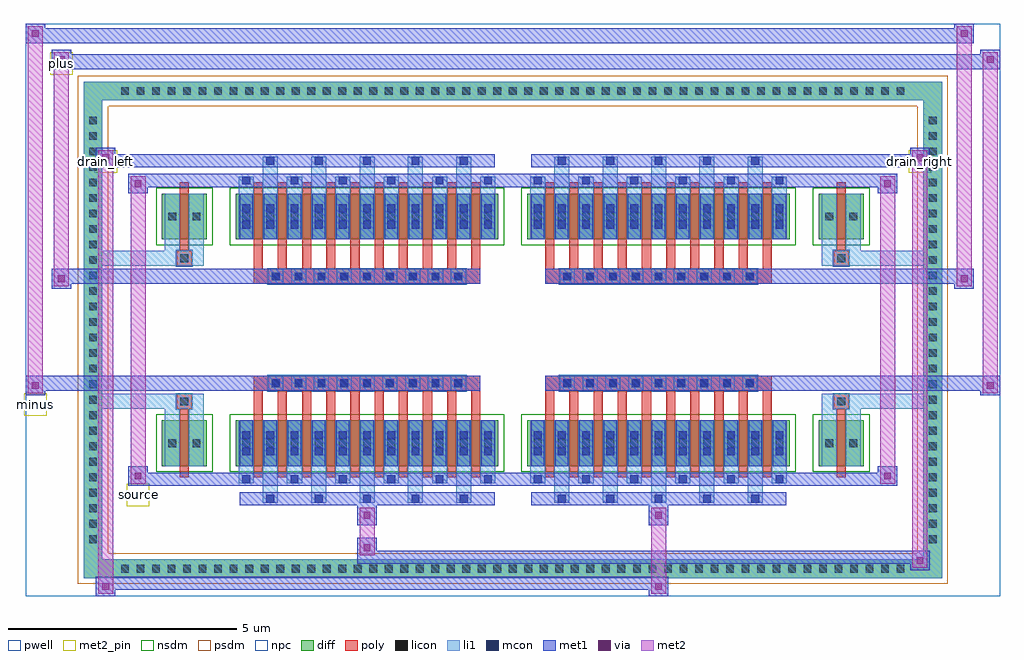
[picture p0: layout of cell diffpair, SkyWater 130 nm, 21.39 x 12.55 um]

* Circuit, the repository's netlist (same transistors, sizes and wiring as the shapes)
* NGSPICE file created from diffpair.ext - technology: sky130A

.subckt diffpair minus drain_right drain_left source plus
X0 source minus drain_right a_n1882_n1088# sky130_fd_pr__nfet_01v8 ad=0.165 pd=1.33 as=0.165 ps=1.33 w=1 l=0.2
X1 drain_right minus source a_n1882_n1088# sky130_fd_pr__nfet_01v8 ad=0.165 pd=1.33 as=0.165 ps=1.33 w=1 l=0.2
X2 drain_right minus source a_n1882_n1088# sky130_fd_pr__nfet_01v8 ad=0.165 pd=1.33 as=0.165 ps=1.33 w=1 l=0.2
X3 drain_right minus source a_n1882_n1088# sky130_fd_pr__nfet_01v8 ad=0.165 pd=1.33 as=0.165 ps=1.33 w=1 l=0.2
X4 source plus drain_left a_n1882_n1088# sky130_fd_pr__nfet_01v8 ad=0.165 pd=1.33 as=0.165 ps=1.33 w=1 l=0.2
X5 source minus drain_right a_n1882_n1088# sky130_fd_pr__nfet_01v8 ad=0.165 pd=1.33 as=0.165 ps=1.33 w=1 l=0.2
X6 drain_left plus source a_n1882_n1088# sky130_fd_pr__nfet_01v8 ad=0.165 pd=1.33 as=0.165 ps=1.33 w=1 l=0.2
X7 source plus drain_left a_n1882_n1088# sky130_fd_pr__nfet_01v8 ad=0.165 pd=1.33 as=0.165 ps=1.33 w=1 l=0.2
X8 drain_left plus source a_n1882_n1088# sky130_fd_pr__nfet_01v8 ad=0.165 pd=1.33 as=0.165 ps=1.33 w=1 l=0.2
X9 a_n1882_n1088# a_n1882_n1088# a_n1882_n1088# a_n1882_n1088# sky130_fd_pr__nfet_01v8 ad=0.39 pd=2.78 as=3.12 ps=22.24 w=1 l=0.2
X10 source minus drain_right a_n1882_n1088# sky130_fd_pr__nfet_01v8 ad=0.165 pd=1.33 as=0.165 ps=1.33 w=1 l=0.2
X11 source minus drain_right a_n1882_n1088# sky130_fd_pr__nfet_01v8 ad=0.165 pd=1.33 as=0.165 ps=1.33 w=1 l=0.2
X12 source minus drain_right a_n1882_n1088# sky130_fd_pr__nfet_01v8 ad=0.165 pd=1.33 as=0.165 ps=1.33 w=1 l=0.2
X13 drain_left plus source a_n1882_n1088# sky130_fd_pr__nfet_01v8 ad=0.165 pd=1.33 as=0.39 ps=2.78 w=1 l=0.2
X14 drain_right minus source a_n1882_n1088# sky130_fd_pr__nfet_01v8 ad=0.165 pd=1.33 as=0.165 ps=1.33 w=1 l=0.2
X15 source plus drain_left a_n1882_n1088# sky130_fd_pr__nfet_01v8 ad=0.165 pd=1.33 as=0.165 ps=1.33 w=1 l=0.2
X16 source minus drain_right a_n1882_n1088# sky130_fd_pr__nfet_01v8 ad=0.39 pd=2.78 as=0.165 ps=1.33 w=1 l=0.2
X17 a_n1882_n1088# a_n1882_n1088# a_n1882_n1088# a_n1882_n1088# sky130_fd_pr__nfet_01v8 ad=0.39 pd=2.78 as=0 ps=0 w=1 l=0.2
X18 drain_left plus source a_n1882_n1088# sky130_fd_pr__nfet_01v8 ad=0.165 pd=1.33 as=0.165 ps=1.33 w=1 l=0.2
X19 source plus drain_left a_n1882_n1088# sky130_fd_pr__nfet_01v8 ad=0.39 pd=2.78 as=0.165 ps=1.33 w=1 l=0.2
X20 source minus drain_right a_n1882_n1088# sky130_fd_pr__nfet_01v8 ad=0.39 pd=2.78 as=0.165 ps=1.33 w=1 l=0.2
X21 drain_left plus source a_n1882_n1088# sky130_fd_pr__nfet_01v8 ad=0.165 pd=1.33 as=0.39 ps=2.78 w=1 l=0.2
X22 drain_right minus source a_n1882_n1088# sky130_fd_pr__nfet_01v8 ad=0.165 pd=1.33 as=0.165 ps=1.33 w=1 l=0.2
X23 drain_right minus source a_n1882_n1088# sky130_fd_pr__nfet_01v8 ad=0.165 pd=1.33 as=0.39 ps=2.78 w=1 l=0.2
X24 drain_left plus source a_n1882_n1088# sky130_fd_pr__nfet_01v8 ad=0.165 pd=1.33 as=0.165 ps=1.33 w=1 l=0.2
X25 drain_right minus source a_n1882_n1088# sky130_fd_pr__nfet_01v8 ad=0.165 pd=1.33 as=0.39 ps=2.78 w=1 l=0.2
X26 drain_right minus source a_n1882_n1088# sky130_fd_pr__nfet_01v8 ad=0.165 pd=1.33 as=0.165 ps=1.33 w=1 l=0.2
X27 drain_left plus source a_n1882_n1088# sky130_fd_pr__nfet_01v8 ad=0.165 pd=1.33 as=0.165 ps=1.33 w=1 l=0.2
X28 source minus drain_right a_n1882_n1088# sky130_fd_pr__nfet_01v8 ad=0.165 pd=1.33 as=0.165 ps=1.33 w=1 l=0.2
X29 source plus drain_left a_n1882_n1088# sky130_fd_pr__nfet_01v8 ad=0.165 pd=1.33 as=0.165 ps=1.33 w=1 l=0.2
X30 a_n1882_n1088# a_n1882_n1088# a_n1882_n1088# a_n1882_n1088# sky130_fd_pr__nfet_01v8 ad=0.39 pd=2.78 as=0 ps=0 w=1 l=0.2
X31 drain_right minus source a_n1882_n1088# sky130_fd_pr__nfet_01v8 ad=0.165 pd=1.33 as=0.165 ps=1.33 w=1 l=0.2
X32 source plus drain_left a_n1882_n1088# sky130_fd_pr__nfet_01v8 ad=0.165 pd=1.33 as=0.165 ps=1.33 w=1 l=0.2
X33 source plus drain_left a_n1882_n1088# sky130_fd_pr__nfet_01v8 ad=0.165 pd=1.33 as=0.165 ps=1.33 w=1 l=0.2
X34 drain_left plus source a_n1882_n1088# sky130_fd_pr__nfet_01v8 ad=0.165 pd=1.33 as=0.165 ps=1.33 w=1 l=0.2
X35 source plus drain_left a_n1882_n1088# sky130_fd_pr__nfet_01v8 ad=0.165 pd=1.33 as=0.165 ps=1.33 w=1 l=0.2
X36 source plus drain_left a_n1882_n1088# sky130_fd_pr__nfet_01v8 ad=0.39 pd=2.78 as=0.165 ps=1.33 w=1 l=0.2
X37 drain_right minus source a_n1882_n1088# sky130_fd_pr__nfet_01v8 ad=0.165 pd=1.33 as=0.165 ps=1.33 w=1 l=0.2
X38 source minus drain_right a_n1882_n1088# sky130_fd_pr__nfet_01v8 ad=0.165 pd=1.33 as=0.165 ps=1.33 w=1 l=0.2
X39 source minus drain_right a_n1882_n1088# sky130_fd_pr__nfet_01v8 ad=0.165 pd=1.33 as=0.165 ps=1.33 w=1 l=0.2
X40 drain_left plus source a_n1882_n1088# sky130_fd_pr__nfet_01v8 ad=0.165 pd=1.33 as=0.165 ps=1.33 w=1 l=0.2
X41 drain_left plus source a_n1882_n1088# sky130_fd_pr__nfet_01v8 ad=0.165 pd=1.33 as=0.165 ps=1.33 w=1 l=0.2
X42 source plus drain_left a_n1882_n1088# sky130_fd_pr__nfet_01v8 ad=0.165 pd=1.33 as=0.165 ps=1.33 w=1 l=0.2
X43 a_n1882_n1088# a_n1882_n1088# a_n1882_n1088# a_n1882_n1088# sky130_fd_pr__nfet_01v8 ad=0.39 pd=2.78 as=0 ps=0 w=1 l=0.2
.ends

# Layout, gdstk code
import gdstk
lib = gdstk.Library(unit=1e-6, precision=5e-09)
def R(c, l, rs):  # rectangles x0, y0, x1, y1
    for r in rs: c.add(gdstk.rectangle(r[:2], r[2:], *l))
def A(c, l, x, y, w, h, nx, ny, dx, dy):  # array of equal rectangles
    R(c, l, [(x+i*dx, y+j*dy, x+i*dx+w, y+j*dy+h) for i in range(nx) for j in range(ny)])
def P(c, l, *ps):  # polygons
    for p in ps: c.add(gdstk.Polygon(p, *l))
pwell = (64, 44)
diff = (65, 20)
poly = (66, 20)
licon = (66, 44)
li1 = (67, 20)
mcon = (67, 44)
met1 = (68, 20)
via = (68, 44)
met2_pin = (69, 16)
met2 = (69, 20)
nsdm = (93, 44)
psdm = (94, 20)
npc = (95, 20)

diffpair = lib.new_cell('diffpair')
R(diffpair, pwell, [(-10.68,-5.84,10.68,6.71), (-8,-4.03,-0.01,-0.805), (0.01,-4.03,8,-0.805), (-8,0.805,-0.01,4.03), (0.01,0.805,8,4.03)])
A(diffpair, diff, -8.705, -5.44, 0.41, 0.41, 51, 2, 0.34, 10.47)
A(diffpair, diff, -9.41, -4.795, 0.41, 0.41, 1, 28, 0, 0.34)
A(diffpair, diff, 9, -4.795, 0.41, 0.41, 1, 28, 0, 0.34)
R(diffpair, diff, [(-8.705,-5.44,8.705,-5.03), (-9.41,-4.795,-9,4.795), (9,-4.795,9.41,4.795), (-7.69,-2.985,-6.71,-1.985), (-6.07,-2.985,-0.32,-1.985), (0.32,-2.985,6.07,-1.985), (6.71,-2.985,7.69,-1.985), (-7.69,1.985,-6.71,2.985), (-6.07,1.985,-0.32,2.985), (0.32,1.985,6.07,2.985), (6.71,1.985,7.69,2.985), (-8.705,5.03,8.705,5.44)])
P(diffpair, diff, [(9.41,5.44),(-9.41,5.44),(-9.41,-5.03),(-9,-5.03),(-9,5.03),(9,5.03),(9,-5.03),(-9,-5.03),(-9.41,-5.03),(-9.41,-5.44),(9.41,-5.44)])
A(diffpair, poly, -5.68, -3.235, 0.2, 1.5, 10, 2, 0.53, 4.97)
A(diffpair, poly, 0.71, -3.235, 0.2, 1.5, 10, 2, 0.53, 4.97)
A(diffpair, poly, -5.68, -1.735, 0.2, 0.4, 10, 2, 0.53, 3.07)
A(diffpair, poly, 0.71, -1.735, 0.2, 0.4, 10, 2, 0.53, 3.07)
A(diffpair, poly, -5.36, -1.335, 0.33, 0.33, 9, 2, 0.5, 2.34)
A(diffpair, poly, 1.03, -1.335, 0.33, 0.33, 9, 2, 0.5, 2.34)
R(diffpair, poly, [(-7.3,-3.235,-7.1,-1.735), (7.1,-3.235,7.3,-1.735), (-7.365,-1.735,-7.035,-1.405), (-7.365,-1.735,-7.035,-1.405), (7.035,-1.735,7.365,-1.405), (7.035,-1.735,7.365,-1.405), (-5.68,-1.335,-0.71,-1.005), (0.71,-1.335,5.68,-1.005), (-5.68,1.005,-0.71,1.335), (0.71,1.005,5.68,1.335), (-7.365,1.405,-7.035,1.735), (-7.365,1.405,-7.035,1.735), (7.035,1.405,7.365,1.735), (7.035,1.405,7.365,1.735), (-7.3,1.735,-7.1,3.235), (7.1,1.735,7.3,3.235)])
A(diffpair, licon, -8.585, -5.32, 0.17, 0.17, 51, 2, 0.34, 10.47)
A(diffpair, licon, -9.29, -4.675, 0.17, 0.17, 1, 28, 0, 0.34)
A(diffpair, licon, 9.12, -4.675, 0.17, 0.17, 1, 28, 0, 0.34)
A(diffpair, licon, -5.93, -2.57, 0.17, 0.17, 11, 2, 0.53, 4.97)
A(diffpair, licon, 0.46, -2.57, 0.17, 0.17, 11, 2, 0.53, 4.97)
A(diffpair, licon, -5.28, -1.255, 0.17, 0.17, 9, 2, 0.5, 2.34)
A(diffpair, licon, 1.11, -1.255, 0.17, 0.17, 9, 2, 0.5, 2.34)
R(diffpair, licon, [(-7.55,-2.57,-7.38,-2.4), (-7.02,-2.57,-6.85,-2.4), (6.85,-2.57,7.02,-2.4), (7.38,-2.57,7.55,-2.4), (-7.285,-1.655,-7.115,-1.485), (7.115,-1.655,7.285,-1.485), (-7.285,1.485,-7.115,1.655), (7.115,1.485,7.285,1.655), (-7.55,2.4,-7.38,2.57), (-7.02,2.4,-6.85,2.57), (6.85,2.4,7.02,2.57), (7.38,2.4,7.55,2.57)])
A(diffpair, li1, -8.665, -5.4, 0.33, 0.33, 51, 2, 0.34, 10.47)
A(diffpair, li1, -9.37, -4.755, 0.33, 0.33, 1, 28, 0, 0.34)
A(diffpair, li1, 9.04, -4.755, 0.33, 0.33, 1, 28, 0, 0.34)
A(diffpair, li1, -5.48, -3.79, 0.33, 0.805, 5, 2, 1.06, 6.775)
A(diffpair, li1, -5.4, -3.79, 0.17, 0.17, 5, 2, 1.06, 7.41)
A(diffpair, li1, 0.91, -3.79, 0.33, 0.805, 5, 2, 1.06, 6.775)
A(diffpair, li1, 0.99, -3.79, 0.17, 0.17, 5, 2, 1.06, 7.41)
A(diffpair, li1, -6.01, -3.36, 0.33, 0.375, 6, 2, 1.06, 6.345)
A(diffpair, li1, -5.93, -3.36, 0.17, 0.17, 6, 2, 1.06, 6.55)
A(diffpair, li1, 0.38, -3.36, 0.33, 0.375, 6, 2, 1.06, 6.345)
A(diffpair, li1, 0.46, -3.36, 0.17, 0.17, 6, 2, 1.06, 6.55)
A(diffpair, li1, -6.01, -2.985, 0.33, 1, 11, 2, 0.53, 4.97)
A(diffpair, li1, 0.38, -2.985, 0.33, 1, 11, 2, 0.53, 4.97)
A(diffpair, li1, -5.93, -2.75, 0.17, 0.17, 11, 2, 0.53, 0.36)
A(diffpair, li1, -5.93, -2.75, 0.17, 0.53, 11, 2, 0.53, 4.97)
A(diffpair, li1, 0.46, -2.75, 0.17, 0.17, 11, 2, 0.53, 0.36)
A(diffpair, li1, 0.46, -2.75, 0.17, 0.53, 11, 2, 0.53, 4.97)
A(diffpair, li1, -6.01, -2.65, 0.33, 0.33, 11, 2, 0.53, 4.97)
A(diffpair, li1, 0.38, -2.65, 0.33, 0.33, 11, 2, 0.53, 4.97)
A(diffpair, li1, -5.36, -1.335, 0.33, 0.33, 9, 2, 0.5, 2.34)
A(diffpair, li1, 1.03, -1.335, 0.33, 0.33, 9, 2, 0.5, 2.34)
A(diffpair, li1, -5.93, 2.22, 0.17, 0.17, 11, 2, 0.53, 0.36)
A(diffpair, li1, 0.46, 2.22, 0.17, 0.17, 11, 2, 0.53, 0.36)
R(diffpair, li1, [(-9.41,-5.44,-9,-5.03), (-9.41,-5.44,-9,-5.03), (-9,-5.44,9,-5.03), (9,-5.44,9.41,-5.03), (9,-5.44,9.41,-5.03), (-9.41,-5.03,-9,5.03), (9,-5.03,9.41,5.03), (-7.63,-2.985,-7.3,-1.985), (-7.1,-2.985,-6.77,-1.985), (6.77,-2.985,7.1,-1.985), (7.3,-2.985,7.63,-1.985), (-7.63,-2.65,-7.3,-2.32), (-7.1,-2.65,-6.77,-2.32), (6.77,-2.65,7.1,-2.32), (7.3,-2.65,7.63,-2.32), (-7.63,-1.985,-7.3,-1.405), (-7.1,-1.985,-6.77,-1.405), (6.77,-1.985,7.1,-1.405), (7.3,-1.985,7.63,-1.405), (-9.41,-1.735,-7.365,-1.405), (-7.63,-1.735,-7.365,-1.405), (-7.365,-1.735,-7.035,-1.405), (-7.035,-1.735,-6.77,-1.405), (6.77,-1.735,7.035,-1.405), (7.035,-1.735,7.365,-1.405), (7.035,-1.735,9.41,-1.405), (7.365,-1.735,7.63,-1.405), (-9.41,1.405,-7.365,1.735), (-7.63,1.405,-7.365,1.735), (-7.63,1.405,-7.3,1.985), (-7.365,1.405,-7.035,1.735), (-7.1,1.405,-6.77,1.985), (-7.035,1.405,-6.77,1.735), (6.77,1.405,7.035,1.735), (6.77,1.405,7.1,1.985), (7.035,1.405,7.365,1.735), (7.035,1.405,9.41,1.735), (7.3,1.405,7.63,1.985), (7.365,1.405,7.63,1.735), (-7.63,1.985,-7.3,2.985), (-7.1,1.985,-6.77,2.985), (6.77,1.985,7.1,2.985), (7.3,1.985,7.63,2.985), (-7.63,2.32,-7.3,2.65), (-7.1,2.32,-6.77,2.65), (6.77,2.32,7.1,2.65), (7.3,2.32,7.63,2.65), (-9.41,5.03,-9,5.44), (-9.41,5.03,-9,5.44), (-9,5.03,9,5.44), (9,5.03,9.41,5.44), (9,5.03,9.41,5.44)])
A(diffpair, mcon, -5.4, -3.79, 0.17, 0.17, 5, 2, 1.06, 7.41)
A(diffpair, mcon, 0.99, -3.79, 0.17, 0.17, 5, 2, 1.06, 7.41)
A(diffpair, mcon, -5.93, -3.36, 0.17, 0.17, 6, 2, 1.06, 6.55)
A(diffpair, mcon, 0.46, -3.36, 0.17, 0.17, 6, 2, 1.06, 6.55)
A(diffpair, mcon, -5.93, -2.75, 0.17, 0.17, 11, 2, 0.53, 0.36)
A(diffpair, mcon, 0.46, -2.75, 0.17, 0.17, 11, 2, 0.53, 0.36)
A(diffpair, mcon, -5.28, -1.255, 0.17, 0.17, 9, 2, 0.5, 2.34)
A(diffpair, mcon, 1.11, -1.255, 0.17, 0.17, 9, 2, 0.5, 2.34)
A(diffpair, mcon, -5.93, 2.22, 0.17, 0.17, 11, 2, 0.53, 0.36)
A(diffpair, mcon, 0.46, 2.22, 0.17, 0.17, 11, 2, 0.53, 0.36)
A(diffpair, met1, -5.46, -3.85, 0.29, 0.29, 5, 2, 1.06, 7.41)
A(diffpair, met1, 0.93, -3.85, 0.29, 0.29, 5, 2, 1.06, 7.41)
A(diffpair, met1, -5.99, -3.42, 0.29, 0.29, 6, 2, 1.06, 6.55)
A(diffpair, met1, 0.4, -3.42, 0.29, 0.29, 6, 2, 1.06, 6.55)
A(diffpair, met1, -5.99, -2.985, 0.29, 1, 11, 2, 0.53, 4.97)
A(diffpair, met1, 0.4, -2.985, 0.29, 1, 11, 2, 0.53, 4.97)
A(diffpair, met1, -5.99, -2.81, 0.29, 0.29, 11, 2, 0.53, 0.36)
A(diffpair, met1, 0.4, -2.81, 0.29, 0.29, 11, 2, 0.53, 0.36)
A(diffpair, met1, -5.34, -1.315, 0.29, 0.29, 9, 2, 0.5, 2.34)
A(diffpair, met1, 1.05, -1.315, 0.29, 0.29, 9, 2, 0.5, 2.34)
A(diffpair, met1, -5.99, 2.16, 0.29, 0.29, 11, 2, 0.53, 0.36)
A(diffpair, met1, 0.4, 2.16, 0.29, 0.29, 11, 2, 0.53, 0.36)
R(diffpair, met1, [(-9.14,-5.84,-8.71,-5.41), (2.98,-5.84,3.41,-5.41), (-9.14,-5.7,3.41,-5.41), (8.71,-5.27,9.14,-4.84), (-3.41,-5.13,9.14,-4.84), (-3.41,-4.99,-2.98,-4.56), (-3.41,-4.28,-2.98,-3.85), (2.98,-4.28,3.41,-3.85), (-5.99,-3.85,-0.4,-3.56), (0.4,-3.85,5.99,-3.56), (-8.43,-3.42,-8,-2.99), (-8.43,-3.42,-5.99,-3.13), (-5.99,-3.42,-0.4,-3.13), (-0.4,-3.42,0.4,-3.13), (0.4,-3.42,5.99,-3.13), (5.99,-3.42,8.43,-3.13), (8,-3.42,8.43,-2.99), (-10.68,-1.435,-10.25,-1.005), (10.25,-1.435,10.68,-1.005), (-10.68,-1.335,-0.71,-1.005), (-5.68,-1.335,-0.71,-1.005), (0.71,-1.335,5.68,-1.005), (0.71,-1.335,10.68,-1.005), (-10.11,0.905,-9.68,1.335), (9.68,0.905,10.11,1.335), (-10.11,1.005,-5.68,1.335), (-5.68,1.005,-0.71,1.335), (0.71,1.005,5.68,1.335), (5.68,1.005,10.11,1.335), (-8.43,2.99,-8,3.42), (8,2.99,8.43,3.42), (-8.43,3.13,-5.99,3.42), (-5.99,3.13,-0.4,3.42), (-0.4,3.13,0.4,3.42), (0.4,3.13,5.99,3.42), (5.99,3.13,8.43,3.42), (-9.14,3.56,-8.71,3.99), (-9.14,3.56,-5.99,3.85), (-5.99,3.56,-0.4,3.85), (0.4,3.56,5.99,3.85), (5.99,3.56,9.14,3.85), (8.71,3.56,9.14,3.99), (-10.11,5.71,-9.68,6.14), (-10.11,5.71,-8,6.04), (-8,5.71,8,6.04), (8,5.71,10.68,6.04), (10.25,5.71,10.68,6.14), (-10.68,6.28,-10.25,6.71), (-10.68,6.28,-8,6.61), (-8,6.28,8,6.61), (8,6.28,10.11,6.61), (9.68,6.28,10.11,6.71)])
R(diffpair, via, [(-9,-5.7,-8.85,-5.55), (3.12,-5.7,3.27,-5.55), (8.85,-5.13,9,-4.98), (-3.27,-4.85,-3.12,-4.7), (-3.27,-4.14,-3.12,-3.99), (3.12,-4.14,3.27,-3.99), (-8.29,-3.28,-8.14,-3.13), (8.14,-3.28,8.29,-3.13), (-10.54,-1.295,-10.39,-1.145), (10.39,-1.295,10.54,-1.145), (-9.97,1.045,-9.82,1.195), (9.82,1.045,9.97,1.195), (-8.29,3.13,-8.14,3.28), (8.14,3.13,8.29,3.28), (-9,3.7,-8.85,3.85), (8.85,3.7,9,3.85), (-9.97,5.85,-9.82,6), (10.39,5.85,10.54,6), (-10.54,6.42,-10.39,6.57), (9.82,6.42,9.97,6.57)])
R(diffpair, met2_pin, [(-8.465,-3.87,-7.965,-3.37), (-10.715,-1.885,-10.215,-1.385), (-9.175,3.44,-8.675,3.94), (8.675,3.44,9.175,3.94), (-10.145,5.59,-9.645,6.09)])
R(diffpair, met2, [(-9.09,-5.79,-8.76,-5.46), (-9.09,-5.79,-8.76,3.94), (3.03,-5.79,3.36,-5.46), (3.03,-5.46,3.36,-4.23), (8.76,-5.22,9.09,-4.89), (8.76,-5.22,9.09,3.94), (-3.36,-4.94,-3.03,-4.61), (-3.36,-4.61,-3.03,-4.23), (-3.36,-4.23,-3.03,-3.9), (3.03,-4.23,3.36,-3.9), (-8.38,-3.37,-8.05,-3.04), (-8.38,-3.37,-8.05,3.37), (8.05,-3.37,8.38,-3.04), (8.05,-3.37,8.38,3.37), (-10.63,-1.385,-10.3,-1.055), (-10.63,-1.385,-10.3,6.66), (10.3,-1.385,10.63,-1.055), (10.3,-1.385,10.63,6.09), (-10.06,0.955,-9.73,1.285), (-10.06,0.955,-9.73,6.09), (9.73,0.955,10.06,1.285), (9.73,0.955,10.06,6.66), (-8.38,3.04,-8.05,3.37), (8.05,3.04,8.38,3.37), (-9.09,3.61,-8.76,3.94), (8.76,3.61,9.09,3.94), (-10.06,5.76,-9.73,6.09), (10.3,5.76,10.63,6.09), (-10.63,6.33,-10.3,6.66), (9.73,6.33,10.06,6.66)])
P(diffpair, met2, [(10.63,-1.385),(10.63,-1.385),(10.63,-1.055),(10.63,-1.055)],
  [(10.63,5.76),(10.63,5.76),(10.63,6.09),(10.63,6.09)],
  [(-10.3,-1.385),(-10.3,-1.385),(-10.3,-1.055),(-10.3,-1.055)],
  [(-10.3,6.33),(-10.3,6.33),(-10.3,6.66),(-10.3,6.66)],
  [(10.06,0.955),(10.06,0.955),(10.06,1.285),(10.06,1.285)],
  [(10.06,6.33),(10.06,6.33),(10.06,6.66),(10.06,6.66)],
  [(-9.73,0.955),(-9.73,0.955),(-9.73,1.285),(-9.73,1.285)],
  [(-9.73,5.76),(-9.73,5.76),(-9.73,6.09),(-9.73,6.09)],
  [(-8.76,-5.79),(-8.76,-5.79),(-8.76,-5.46),(-8.76,-5.46)],
  [(-8.76,3.61),(-8.76,3.61),(-8.76,3.94),(-8.76,3.94)],
  [(9.09,-5.22),(9.09,-5.22),(9.09,-4.89),(9.09,-4.89)],
  [(9.09,3.61),(9.09,3.61),(9.09,3.94),(9.09,3.94)],
  [(-8.05,-3.37),(-8.05,-3.37),(-8.05,-3.04),(-8.05,-3.04)],
  [(-8.05,3.04),(-8.05,3.04),(-8.05,3.37),(-8.05,3.37)],
  [(8.38,-3.37),(8.38,-3.37),(8.38,-3.04),(8.38,-3.04)],
  [(8.38,3.04),(8.38,3.04),(8.38,3.37),(8.38,3.37)])
R(diffpair, nsdm, [(-7.82,-3.115,-6.58,-1.855), (-6.2,-3.115,-0.19,-1.855), (0.19,-3.115,6.2,-1.855), (6.58,-3.115,7.82,-1.855), (-7.82,1.855,-6.58,3.115), (-6.2,1.855,-0.19,3.115), (0.19,1.855,6.2,3.115), (6.58,1.855,7.82,3.115)])
P(diffpair, psdm, [(9.54,5.57),(-9.54,5.57),(-9.54,-4.9),(-8.87,-4.9),(-8.87,4.9),(8.87,4.9),(8.87,-4.9),(-8.87,-4.9),(-9.54,-4.9),(-9.54,-5.57),(9.54,-5.57)])
A(diffpair, npc, -5.38, -1.355, 0.37, 0.37, 9, 2, 0.5, 2.34)
A(diffpair, npc, 1.01, -1.355, 0.37, 0.37, 9, 2, 0.5, 2.34)
R(diffpair, npc, [(-7.385,-1.755,-7.015,-1.385), (7.015,-1.755,7.385,-1.385), (-5.38,-1.355,-4.51,-0.985), (-5.38,-1.355,-4.51,-0.985), (-4.88,-1.355,-4.01,-0.985), (-4.88,-1.355,-4.01,-0.985), (-4.38,-1.355,-3.51,-0.985), (-4.38,-1.355,-3.51,-0.985), (-3.88,-1.355,-3.01,-0.985), (-3.88,-1.355,-3.01,-0.985), (-3.38,-1.355,-2.51,-0.985), (-3.38,-1.355,-2.51,-0.985), (-2.88,-1.355,-2.01,-0.985), (-2.88,-1.355,-2.01,-0.985), (-2.38,-1.355,-1.51,-0.985), (-2.38,-1.355,-1.51,-0.985), (-1.88,-1.355,-1.01,-0.985), (-1.88,-1.355,-1.01,-0.985), (1.01,-1.355,1.88,-0.985), (1.01,-1.355,1.88,-0.985), (1.51,-1.355,2.38,-0.985), (1.51,-1.355,2.38,-0.985), (2.01,-1.355,2.88,-0.985), (2.01,-1.355,2.88,-0.985), (2.51,-1.355,3.38,-0.985), (2.51,-1.355,3.38,-0.985), (3.01,-1.355,3.88,-0.985), (3.01,-1.355,3.88,-0.985), (3.51,-1.355,4.38,-0.985), (3.51,-1.355,4.38,-0.985), (4.01,-1.355,4.88,-0.985), (4.01,-1.355,4.88,-0.985), (4.51,-1.355,5.38,-0.985), (4.51,-1.355,5.38,-0.985), (-5.38,0.985,-4.51,1.355), (-5.38,0.985,-4.51,1.355), (-4.88,0.985,-4.01,1.355), (-4.88,0.985,-4.01,1.355), (-4.38,0.985,-3.51,1.355), (-4.38,0.985,-3.51,1.355), (-3.88,0.985,-3.01,1.355), (-3.88,0.985,-3.01,1.355), (-3.38,0.985,-2.51,1.355), (-3.38,0.985,-2.51,1.355), (-2.88,0.985,-2.01,1.355), (-2.88,0.985,-2.01,1.355), (-2.38,0.985,-1.51,1.355), (-2.38,0.985,-1.51,1.355), (-1.88,0.985,-1.01,1.355), (-1.88,0.985,-1.01,1.355), (1.01,0.985,1.88,1.355), (1.01,0.985,1.88,1.355), (1.51,0.985,2.38,1.355), (1.51,0.985,2.38,1.355), (2.01,0.985,2.88,1.355), (2.01,0.985,2.88,1.355), (2.51,0.985,3.38,1.355), (2.51,0.985,3.38,1.355), (3.01,0.985,3.88,1.355), (3.01,0.985,3.88,1.355), (3.51,0.985,4.38,1.355), (3.51,0.985,4.38,1.355), (4.01,0.985,4.88,1.355), (4.01,0.985,4.88,1.355), (4.51,0.985,5.38,1.355), (4.51,0.985,5.38,1.355), (-7.385,1.385,-7.015,1.755), (7.015,1.385,7.385,1.755)])
diffpair.add(gdstk.Label('minus', (-10.465,-1.635), layer=69, texttype=5))
diffpair.add(gdstk.Label('drain_right', (8.925,3.69), layer=69, texttype=5))
diffpair.add(gdstk.Label('drain_left', (-8.925,3.69), layer=69, texttype=5))
diffpair.add(gdstk.Label('source', (-8.215,-3.62), layer=69, texttype=5))
diffpair.add(gdstk.Label('plus', (-9.895,5.84), layer=69, texttype=5))

lib.write_gds('diffpair.gds')
